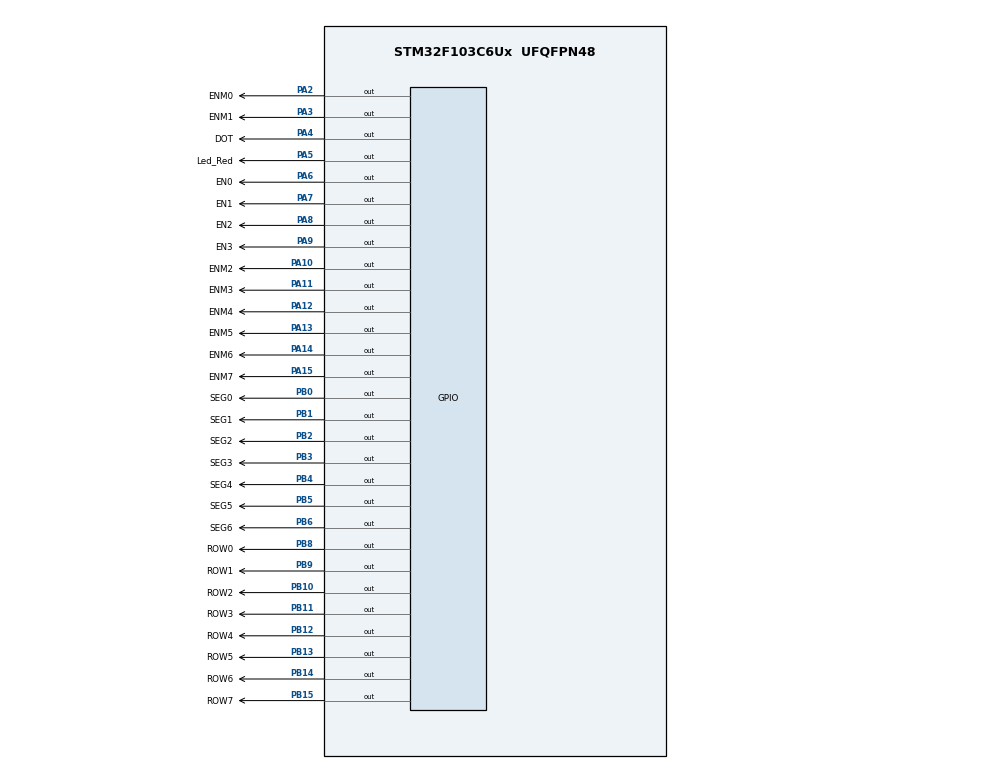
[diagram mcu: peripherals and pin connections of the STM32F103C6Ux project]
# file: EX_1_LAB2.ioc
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Mcu.Family=STM32F1
Mcu.Name=STM32F103C6Ux
Mcu.Package=UFQFPN48
NVIC.PriorityGroup=NVIC_PRIORITYGROUP_4
NVIC.TIM2_IRQn=true\:0\:0\:false\:false\:true\:true\:true
PA10.GPIO_Label=ENM2
PA10.Signal=GPIO_Output
PA11.GPIO_Label=ENM3
PA11.Signal=GPIO_Output
PA12.GPIO_Label=ENM4
PA12.Signal=GPIO_Output
PA13.GPIO_Label=ENM5
PA13.Signal=GPIO_Output
PA14.GPIO_Label=ENM6
PA14.Signal=GPIO_Output
PA15.GPIO_Label=ENM7
PA15.Signal=GPIO_Output
PA2.GPIO_Label=ENM0
PA2.Signal=GPIO_Output
PA3.GPIO_Label=ENM1
PA3.Signal=GPIO_Output
PA4.GPIO_Label=DOT
PA4.Signal=GPIO_Output
PA5.GPIO_Label=Led_Red
PA5.Signal=GPIO_Output
PA6.GPIO_Label=EN0
PA6.Signal=GPIO_Output
PA7.GPIO_Label=EN1
PA7.Signal=GPIO_Output
PA8.GPIO_Label=EN2
PA8.Signal=GPIO_Output
PA9.GPIO_Label=EN3
PA9.Signal=GPIO_Output
PB0.GPIO_Label=SEG0
PB0.Signal=GPIO_Output
PB1.GPIO_Label=SEG1
PB1.Signal=GPIO_Output
PB10.GPIO_Label=ROW2
PB10.Signal=GPIO_Output
PB11.GPIO_Label=ROW3
PB11.Signal=GPIO_Output
PB12.GPIO_Label=ROW4
PB12.Signal=GPIO_Output
PB13.GPIO_Label=ROW5
PB13.Signal=GPIO_Output
PB14.GPIO_Label=ROW6
PB14.Signal=GPIO_Output
PB15.GPIO_Label=ROW7
PB15.Signal=GPIO_Output
PB2.GPIO_Label=SEG2
PB2.Signal=GPIO_Output
PB3.GPIO_Label=SEG3
PB3.Signal=GPIO_Output
PB4.GPIO_Label=SEG4
PB4.Signal=GPIO_Output
PB5.GPIO_Label=SEG5
PB5.Signal=GPIO_Output
PB6.GPIO_Label=SEG6
PB6.Signal=GPIO_Output
PB8.GPIO_Label=ROW0
PB8.Signal=GPIO_Output
PB9.GPIO_Label=ROW1
PB9.Signal=GPIO_Output
ProjectManager.HeapSize=0x200
ProjectManager.StackSize=0x400
ProjectManager.TargetToolchain=STM32CubeIDE
RCC.APB1Freq_Value=8000000
RCC.APB2Freq_Value=8000000
TIM2.Period=9
TIM2.Prescaler=7999
VP_SYS_VS_ND.Mode=No_Debug
VP_TIM2_VS_ClockSourceINT.Mode=Internal
board=custom

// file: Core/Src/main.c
/* USER CODE BEGIN Header */
/**
  ******************************************************************************
  * @file           : main.c
  * @brief          : Main program body
  ******************************************************************************
  * @attention
  *
  * <h2><center>&copy; Copyright (c) 2024 STMicroelectronics.
  * All rights reserved.</center></h2>
  *
  * This software component is licensed by ST under BSD 3-Clause license,
  * the "License"; You may not use this file except in compliance with the
  * License. You may obtain a copy of the License at:
  *                        opensource.org/licenses/BSD-3-Clause
  *
  ******************************************************************************
  */
/* USER CODE END Header */
#include "main.h"

TIM_HandleTypeDef htim2;

void SystemClock_Config(void);
static void MX_GPIO_Init(void);
static void MX_TIM2_Init(void);

/* USER CODE BEGIN 0 */

void display7SEG(int num)
{
	switch(num){
	case 0:
		HAL_GPIO_WritePin(SEG0_GPIO_Port, SEG0_Pin, GPIO_PIN_RESET);
		HAL_GPIO_WritePin(SEG1_GPIO_Port, SEG1_Pin, GPIO_PIN_RESET);
		HAL_GPIO_WritePin(SEG2_GPIO_Port, SEG2_Pin, GPIO_PIN_RESET);
		HAL_GPIO_WritePin(SEG3_GPIO_Port, SEG3_Pin, GPIO_PIN_RESET);
		HAL_GPIO_WritePin(SEG4_GPIO_Port, SEG4_Pin, GPIO_PIN_RESET);
		HAL_GPIO_WritePin(SEG5_GPIO_Port, SEG5_Pin, GPIO_PIN_RESET);
		HAL_GPIO_WritePin(SEG6_GPIO_Port, SEG6_Pin, GPIO_PIN_SET);
		break;
	case 1:

		HAL_GPIO_WritePin(SEG0_GPIO_Port, SEG0_Pin, GPIO_PIN_SET);
		HAL_GPIO_WritePin(SEG1_GPIO_Port, SEG1_Pin, GPIO_PIN_RESET);
		HAL_GPIO_WritePin(SEG2_GPIO_Port, SEG2_Pin, GPIO_PIN_RESET);
		HAL_GPIO_WritePin(SEG3_GPIO_Port, SEG3_Pin, GPIO_PIN_SET);
		HAL_GPIO_WritePin(SEG4_GPIO_Port, SEG4_Pin, GPIO_PIN_SET);
		HAL_GPIO_WritePin(SEG5_GPIO_Port, SEG5_Pin, GPIO_PIN_SET);
		HAL_GPIO_WritePin(SEG6_GPIO_Port, SEG6_Pin, GPIO_PIN_SET);
		break;

	case 2:

		HAL_GPIO_WritePin(SEG0_GPIO_Port, SEG0_Pin, GPIO_PIN_RESET);
		HAL_GPIO_WritePin(SEG1_GPIO_Port, SEG1_Pin, GPIO_PIN_RESET);
		HAL_GPIO_WritePin(SEG2_GPIO_Port, SEG2_Pin, GPIO_PIN_SET);
		HAL_GPIO_WritePin(SEG3_GPIO_Port, SEG3_Pin, GPIO_PIN_RESET);
		HAL_GPIO_WritePin(SEG4_GPIO_Port, SEG4_Pin, GPIO_PIN_RESET);
		HAL_GPIO_WritePin(SEG5_GPIO_Port, SEG5_Pin, GPIO_PIN_SET);
		HAL_GPIO_WritePin(SEG6_GPIO_Port, SEG6_Pin, GPIO_PIN_RESET);
		break;

	case 3:

		HAL_GPIO_WritePin(SEG0_GPIO_Port, SEG0_Pin, GPIO_PIN_RESET);
		HAL_GPIO_WritePin(SEG1_GPIO_Port, SEG1_Pin, GPIO_PIN_RESET);
		HAL_GPIO_WritePin(SEG2_GPIO_Port, SEG2_Pin, GPIO_PIN_RESET);
		HAL_GPIO_WritePin(SEG3_GPIO_Port, SEG3_Pin, GPIO_PIN_RESET);
		HAL_GPIO_WritePin(SEG4_GPIO_Port, SEG4_Pin, GPIO_PIN_SET);
		HAL_GPIO_WritePin(SEG5_GPIO_Port, SEG5_Pin, GPIO_PIN_SET);
		HAL_GPIO_WritePin(SEG6_GPIO_Port, SEG6_Pin, GPIO_PIN_RESET);
		break;

	case 4:

		HAL_GPIO_WritePin(SEG0_GPIO_Port, SEG0_Pin, GPIO_PIN_SET);
		HAL_GPIO_WritePin(SEG1_GPIO_Port, SEG1_Pin, GPIO_PIN_RESET);
		HAL_GPIO_WritePin(SEG2_GPIO_Port, SEG2_Pin, GPIO_PIN_RESET);
		HAL_GPIO_WritePin(SEG3_GPIO_Port, SEG3_Pin, GPIO_PIN_SET);
		HAL_GPIO_WritePin(SEG4_GPIO_Port, SEG4_Pin, GPIO_PIN_SET);
		HAL_GPIO_WritePin(SEG5_GPIO_Port, SEG5_Pin, GPIO_PIN_RESET);
		HAL_GPIO_WritePin(SEG6_GPIO_Port, SEG6_Pin, GPIO_PIN_RESET);
		break;

	case 5:

		HAL_GPIO_WritePin(SEG0_GPIO_Port, SEG0_Pin, GPIO_PIN_RESET);
		HAL_GPIO_WritePin(SEG1_GPIO_Port, SEG1_Pin, GPIO_PIN_SET);
		HAL_GPIO_WritePin(SEG2_GPIO_Port, SEG2_Pin, GPIO_PIN_RESET);
		HAL_GPIO_WritePin(SEG3_GPIO_Port, SEG3_Pin, GPIO_PIN_RESET);
		HAL_GPIO_WritePin(SEG4_GPIO_Port, SEG4_Pin, GPIO_PIN_SET);
		HAL_GPIO_WritePin(SEG5_GPIO_Port, SEG5_Pin, GPIO_PIN_RESET);
		HAL_GPIO_WritePin(SEG6_GPIO_Port, SEG6_Pin, GPIO_PIN_RESET);
		break;

	case 6:

		HAL_GPIO_WritePin(SEG0_GPIO_Port, SEG0_Pin, GPIO_PIN_RESET);
		HAL_GPIO_WritePin(SEG1_GPIO_Port, SEG1_Pin, GPIO_PIN_SET);
		HAL_GPIO_WritePin(SEG2_GPIO_Port, SEG2_Pin, GPIO_PIN_RESET);
		HAL_GPIO_WritePin(SEG3_GPIO_Port, SEG3_Pin, GPIO_PIN_RESET);
		HAL_GPIO_WritePin(SEG4_GPIO_Port, SEG4_Pin, GPIO_PIN_RESET);
		HAL_GPIO_WritePin(SEG5_GPIO_Port, SEG5_Pin, GPIO_PIN_RESET);
		HAL_GPIO_WritePin(SEG6_GPIO_Port, SEG6_Pin, GPIO_PIN_RESET);
		break;

	case 7:

		HAL_GPIO_WritePin(SEG0_GPIO_Port, SEG0_Pin, GPIO_PIN_RESET);
		HAL_GPIO_WritePin(SEG1_GPIO_Port, SEG1_Pin, GPIO_PIN_RESET);
		HAL_GPIO_WritePin(SEG2_GPIO_Port, SEG2_Pin, GPIO_PIN_RESET);
		HAL_GPIO_WritePin(SEG3_GPIO_Port, SEG3_Pin, GPIO_PIN_SET);
		HAL_GPIO_WritePin(SEG4_GPIO_Port, SEG4_Pin, GPIO_PIN_SET);
		HAL_GPIO_WritePin(SEG5_GPIO_Port, SEG5_Pin, GPIO_PIN_SET);
		HAL_GPIO_WritePin(SEG6_GPIO_Port, SEG6_Pin, GPIO_PIN_SET);
		break;

	case 8:

		HAL_GPIO_WritePin(SEG0_GPIO_Port, SEG0_Pin, GPIO_PIN_RESET);
		HAL_GPIO_WritePin(SEG1_GPIO_Port, SEG1_Pin, GPIO_PIN_RESET);
		HAL_GPIO_WritePin(SEG2_GPIO_Port, SEG2_Pin, GPIO_PIN_RESET);
		HAL_GPIO_WritePin(SEG3_GPIO_Port, SEG3_Pin, GPIO_PIN_RESET);
		HAL_GPIO_WritePin(SEG4_GPIO_Port, SEG4_Pin, GPIO_PIN_RESET);
		HAL_GPIO_WritePin(SEG5_GPIO_Port, SEG5_Pin, GPIO_PIN_RESET);
		HAL_GPIO_WritePin(SEG6_GPIO_Port, SEG6_Pin, GPIO_PIN_RESET);
		break;

	case 9:

		HAL_GPIO_WritePin(SEG0_GPIO_Port, SEG0_Pin, GPIO_PIN_RESET);
		HAL_GPIO_WritePin(SEG1_GPIO_Port, SEG1_Pin, GPIO_PIN_RESET);
		HAL_GPIO_WritePin(SEG2_GPIO_Port, SEG2_Pin, GPIO_PIN_RESET);
		HAL_GPIO_WritePin(SEG3_GPIO_Port, SEG3_Pin, GPIO_PIN_RESET);
		HAL_GPIO_WritePin(SEG4_GPIO_Port, SEG4_Pin, GPIO_PIN_SET);
		HAL_GPIO_WritePin(SEG5_GPIO_Port, SEG5_Pin, GPIO_PIN_RESET);
		HAL_GPIO_WritePin(SEG6_GPIO_Port, SEG6_Pin, GPIO_PIN_RESET);
		break;

	}
}
const int MAX_LED = 4;
int index_led = 0;
int led_buffer[4] = {0, 0, 0, 0}; // Thay đổi giá trị để thử nghiệm
int hour = 15;
int minute = 8;
int second = 50;
int index_led_matrix = 0;
const int MAX_LED_MATRIX = 8;
//uint8_t matrix_buffer [8] = {0x18,0x24,0x42,0x42,0x7e,0x42,0x42,0x42};
uint8_t matrix_buffer [8] = {0x20,0x10,0x08,0x18,0x24,0x7e,0x42,0x42};

GPIO_TypeDef* ENM_GPIO_Port[8] = {
    ENM0_GPIO_Port, ENM1_GPIO_Port, ENM2_GPIO_Port,
    ENM3_GPIO_Port, ENM4_GPIO_Port, ENM5_GPIO_Port,
    ENM6_GPIO_Port, ENM7_GPIO_Port
};

uint16_t ENM_Pin[8] = {
    ENM0_Pin, ENM1_Pin, ENM2_Pin,
    ENM3_Pin, ENM4_Pin, ENM5_Pin,
    ENM6_Pin, ENM7_Pin
};
int shift = 1;// mask used to get bit by bit of buffer
void display_ledmatix(int row,int col)
{

		if(row == 0){// enable row 0
			HAL_GPIO_WritePin(ROW0_GPIO_Port, ROW0_Pin, RESET);
			HAL_GPIO_WritePin(ROW1_GPIO_Port, ROW1_Pin, SET);
			HAL_GPIO_WritePin(ROW2_GPIO_Port, ROW2_Pin, SET);
			HAL_GPIO_WritePin(ROW3_GPIO_Port, ROW3_Pin, SET);
			HAL_GPIO_WritePin(ROW4_GPIO_Port, ROW4_Pin, SET);
			HAL_GPIO_WritePin(ROW5_GPIO_Port, ROW5_Pin, SET);
			HAL_GPIO_WritePin(ROW6_GPIO_Port, ROW6_Pin, SET);
			HAL_GPIO_WritePin(ROW7_GPIO_Port, ROW7_Pin, SET);

			// get bit by bit of buffer, then assign to ENM-PIN to control COL-PIN
			  for (int i = 0; i < 8; i++) {
			        HAL_GPIO_WritePin(ENM_GPIO_Port[i], ENM_Pin[i], 1 - (col & 1));
			        col = col >> 1; // Dịch trái sau khi ghi giá trị
			    }
		}

		if(row == 1){// enable row 1
			HAL_GPIO_WritePin(ROW0_GPIO_Port, ROW0_Pin, SET);
			HAL_GPIO_WritePin(ROW1_GPIO_Port, ROW1_Pin, RESET);
			HAL_GPIO_WritePin(ROW2_GPIO_Port, ROW2_Pin, SET);
			HAL_GPIO_WritePin(ROW3_GPIO_Port, ROW3_Pin, SET);
			HAL_GPIO_WritePin(ROW4_GPIO_Port, ROW4_Pin, SET);
			HAL_GPIO_WritePin(ROW5_GPIO_Port, ROW5_Pin, SET);
			HAL_GPIO_WritePin(ROW6_GPIO_Port, ROW6_Pin, SET);
			HAL_GPIO_WritePin(ROW7_GPIO_Port, ROW7_Pin, SET);

			  for (int i = 0; i < 8; i++) {
					        HAL_GPIO_WritePin(ENM_GPIO_Port[i], ENM_Pin[i], 1 - (col & 1));
					        col = col >> 1; // Dịch trái sau khi ghi giá trị
					    }
		}

		if(row == 2){// enable row 2
			HAL_GPIO_WritePin(ROW0_GPIO_Port, ROW0_Pin, SET);
			HAL_GPIO_WritePin(ROW1_GPIO_Port, ROW1_Pin, SET);
			HAL_GPIO_WritePin(ROW2_GPIO_Port, ROW2_Pin, RESET);
			HAL_GPIO_WritePin(ROW3_GPIO_Port, ROW3_Pin, SET);
			HAL_GPIO_WritePin(ROW4_GPIO_Port, ROW4_Pin, SET);
			HAL_GPIO_WritePin(ROW5_GPIO_Port, ROW5_Pin, SET);
			HAL_GPIO_WritePin(ROW6_GPIO_Port, ROW6_Pin, SET);
			HAL_GPIO_WritePin(ROW7_GPIO_Port, ROW7_Pin, SET);

			  for (int i = 0; i < 8; i++) {
					        HAL_GPIO_WritePin(ENM_GPIO_Port[i], ENM_Pin[i], 1 - (col & 1));
					        col = col >> 1; // Dịch trái sau khi ghi giá trị
					    }
		}

		if(row == 3){// enable row 3
			HAL_GPIO_WritePin(ROW0_GPIO_Port, ROW0_Pin, SET);
			HAL_GPIO_WritePin(ROW1_GPIO_Port, ROW1_Pin, SET);
			HAL_GPIO_WritePin(ROW2_GPIO_Port, ROW2_Pin, SET);
			HAL_GPIO_WritePin(ROW3_GPIO_Port, ROW3_Pin, RESET);
			HAL_GPIO_WritePin(ROW4_GPIO_Port, ROW4_Pin, SET);
			HAL_GPIO_WritePin(ROW5_GPIO_Port, ROW5_Pin, SET);
			HAL_GPIO_WritePin(ROW6_GPIO_Port, ROW6_Pin, SET);
			HAL_GPIO_WritePin(ROW7_GPIO_Port, ROW7_Pin, SET);

			  for (int i = 0; i < 8; i++) {
					        HAL_GPIO_WritePin(ENM_GPIO_Port[i], ENM_Pin[i], 1 - (col & 1));
					        col = col >> 1; // Dịch trái sau khi ghi giá trị
					    }
		}

		if(row == 4){// enable row 4
			HAL_GPIO_WritePin(ROW0_GPIO_Port, ROW0_Pin, SET);
			HAL_GPIO_WritePin(ROW1_GPIO_Port, ROW1_Pin, SET);
			HAL_GPIO_WritePin(ROW2_GPIO_Port, ROW2_Pin, SET);
			HAL_GPIO_WritePin(ROW3_GPIO_Port, ROW3_Pin, SET);
			HAL_GPIO_WritePin(ROW4_GPIO_Port, ROW4_Pin, RESET);
			HAL_GPIO_WritePin(ROW5_GPIO_Port, ROW5_Pin, SET);
			HAL_GPIO_WritePin(ROW6_GPIO_Port, ROW6_Pin, SET);
			HAL_GPIO_WritePin(ROW7_GPIO_Port, ROW7_Pin, SET);

			  for (int i = 0; i < 8; i++) {
					        HAL_GPIO_WritePin(ENM_GPIO_Port[i], ENM_Pin[i], 1 - (col & 1));
					        col = col >> 1; // Dịch trái sau khi ghi giá trị
					    }
		}

		if(row == 5){// enable row 5
			HAL_GPIO_WritePin(ROW0_GPIO_Port, ROW0_Pin, SET);
			HAL_GPIO_WritePin(ROW1_GPIO_Port, ROW1_Pin, SET);
			HAL_GPIO_WritePin(ROW2_GPIO_Port, ROW2_Pin, SET);
			HAL_GPIO_WritePin(ROW3_GPIO_Port, ROW3_Pin, SET);
			HAL_GPIO_WritePin(ROW4_GPIO_Port, ROW4_Pin, SET);
			HAL_GPIO_WritePin(ROW5_GPIO_Port, ROW5_Pin, RESET);
			HAL_GPIO_WritePin(ROW6_GPIO_Port, ROW6_Pin, SET);
			HAL_GPIO_WritePin(ROW7_GPIO_Port, ROW7_Pin, SET);

			  for (int i = 0; i < 8; i++) {
					        HAL_GPIO_WritePin(ENM_GPIO_Port[i], ENM_Pin[i], 1 - (col & 1));
					        col = col >> 1; // Dịch trái sau khi ghi giá trị
					    }
		}

		if(row == 6){// enable row 6
			HAL_GPIO_WritePin(ROW0_GPIO_Port, ROW0_Pin, SET);
			HAL_GPIO_WritePin(ROW1_GPIO_Port, ROW1_Pin, SET);
			HAL_GPIO_WritePin(ROW2_GPIO_Port, ROW2_Pin, SET);
			HAL_GPIO_WritePin(ROW3_GPIO_Port, ROW3_Pin, SET);
			HAL_GPIO_WritePin(ROW4_GPIO_Port, ROW4_Pin, SET);
			HAL_GPIO_WritePin(ROW5_GPIO_Port, ROW5_Pin, SET);
			HAL_GPIO_WritePin(ROW6_GPIO_Port, ROW6_Pin, RESET);
			HAL_GPIO_WritePin(ROW7_GPIO_Port, ROW7_Pin, SET);

			  for (int i = 0; i < 8; i++) {
					        HAL_GPIO_WritePin(ENM_GPIO_Port[i], ENM_Pin[i], 1 - (col & 1));
					        col = col >> 1; // Dịch trái sau khi ghi giá trị
					    }
		}

		if(row == 7){// enable row 7
			HAL_GPIO_WritePin(ROW0_GPIO_Port, ROW0_Pin, SET);
			HAL_GPIO_WritePin(ROW1_GPIO_Port, ROW1_Pin, SET);
			HAL_GPIO_WritePin(ROW2_GPIO_Port, ROW2_Pin, SET);
			HAL_GPIO_WritePin(ROW3_GPIO_Port, ROW3_Pin, SET);
			HAL_GPIO_WritePin(ROW4_GPIO_Port, ROW4_Pin, SET);
			HAL_GPIO_WritePin(ROW5_GPIO_Port, ROW5_Pin, SET);
			HAL_GPIO_WritePin(ROW6_GPIO_Port, ROW6_Pin, SET);
			HAL_GPIO_WritePin(ROW7_GPIO_Port, ROW7_Pin, RESET);

			  for (int i = 0; i < 8; i++) {
					        HAL_GPIO_WritePin(ENM_GPIO_Port[i], ENM_Pin[i], 1 - (col & 1));
					        col = col >> 1; // Dịch trái sau khi ghi giá trị
					    }
		}
}
void updateLedMatrix(int index){
	switch(index){
	case 0:// display row 0 of led matrix
		display_ledmatix(0, matrix_buffer[0]);
		break;
	case 1:// display row 1 of led matrix
		display_ledmatix(1, matrix_buffer[1]);
		break;
	case 2:// display row 2 of led matrix
		display_ledmatix(2, matrix_buffer[2]);
		break;
	case 3:// display row 3 of led matrix
		display_ledmatix(3, matrix_buffer[3]);
		break;
	case 4:// display row 4 of led matrix
		display_ledmatix(4, matrix_buffer[4]);
		break;
	case 5:// display row 5 of led matrix
		display_ledmatix(5, matrix_buffer[5]);
		break;
	case 6:// display row 6 of led matrix
		display_ledmatix(6, matrix_buffer[6]);
		break;
	case 7:// display row 7 of led matrix
		display_ledmatix(7, matrix_buffer[7]);
		break;
	default:
		break;
	}
}

void update7SEG(int index)
{
    switch (index)
    {
        case 0:
            display7SEG(led_buffer[0]);
            break;
        case 1:
            display7SEG(led_buffer[1]);
            break;
        case 2:
            display7SEG(led_buffer[2]);
            break;
        case 3:
            display7SEG(led_buffer[3]);
            break;
        default:
            break;
    }
}
void updateClockBuffer()
{
	if(hour<10)
	{
		led_buffer[0]=0;
		led_buffer[1]=hour;

	}
	if(hour>=10)
	{
		led_buffer[0]=hour/10;
		led_buffer[1]=hour%10;
	}
	if(minute<10)
	{
		led_buffer[2]=0;
		led_buffer[3]=minute;
	}
	if(minute>=10)
	{
		led_buffer[2]=minute/10;
		led_buffer[3]=minute%10;
	}

}
int timer_counter=0;
int timer_flag=0;
int timer_cycle=10;
int timer_counter1=0;
int timer_flag1=0;
int timer_cycle1=10;
int timer_counter2=0;
int timer_flag2=0;
int timer_cycle2=10;
int timer_counter_matrix=0;
int timer_flag_matrix=0;
void setTimer_maxtrix(int duration)
{
	timer_counter_matrix=duration/timer_cycle;
	timer_flag_matrix=0;
}
void timerRun_maxtrix()
{
	if(timer_counter_matrix>0)
	{
		timer_counter_matrix--;
		if(timer_counter_matrix==0)
			timer_flag_matrix=1;
	}}
void setTimer(int duration)
{
	timer_counter=duration/timer_cycle;
	timer_flag=0;
}
void timerRun()
{
	if(timer_counter>0)
	{
		timer_counter--;
		if(timer_counter==0)
			timer_flag=1;
	}
}
void setTimer1(int duration1)
{
	timer_counter1=duration1/timer_cycle1;
	timer_flag1=0;
}
void timerRun1()
{
	if(timer_counter1>0)
	{
		timer_counter1--;
		if(timer_counter1==0)
			timer_flag1=1;
	}
}
void setTimer2(int duration1)
{
	timer_counter2=duration1/timer_cycle2;
	timer_flag2=0;
}
void timerRun2()
{
	if(timer_counter2>0)
	{
		timer_counter2--;
		if(timer_counter2==0)
			timer_flag2=1;
	}
}
/* USER CODE END 0 */

int main(void)
{

  /* MCU Configuration--------------------------------------------------------*/

  /* Reset of all peripherals, Initializes the Flash interface and the Systick. */
  HAL_Init();

  /* Configure the system clock */
  SystemClock_Config();

  /* Initialize all configured peripherals */
  MX_GPIO_Init();
  MX_TIM2_Init();
  /* USER CODE BEGIN 2 */
  HAL_TIM_Base_Start_IT(&htim2);
  /* USER CODE END 2 */

  /* Infinite loop */
  /* USER CODE BEGIN WHILE */
  setTimer(1000);
  setTimer1(250);
  setTimer2(1000);
  setTimer_maxtrix(200);
  int state=0;
  while (1)
  {
    /* USER CODE END WHILE */
    if(timer_flag==1)
    {
    	  second ++;
    	  	  if (second >= 60)
    	  	  {
    	  		  second = 0;
    	  	  	  minute++;
    	  	  }
    	  	  if(minute >= 60)
    	  	  {
    	  		  minute = 0;
    	  	  	  hour++;
    	  	  }
    	  	  if(hour >= 24)
    	  	  {
    	  		  hour = 0;
    	  	  }
    	  	  updateClockBuffer();
	            setTimer(1000);
    }
    if(timer_flag_matrix==1)
    {
    	updateLedMatrix(index_led_matrix++);
        if(index_led_matrix>=MAX_LED_MATRIX)
        	index_led_matrix=0;
        setTimer_maxtrix(10);
    }
    if(timer_flag2==1)
    {
        HAL_GPIO_TogglePin(Led_Red_GPIO_Port, Led_Red_Pin);
        HAL_GPIO_TogglePin(DOT_GPIO_Port, DOT_Pin);
        setTimer2(1000);

    }
    if(timer_flag1==1)
    {
        if(index_led>= MAX_LED)
        {
        	index_led=0;
        }
        // Chuyển đổi trạng thái hiển thị LED 7 đoạn
        if (state == 0)
        {
            HAL_GPIO_WritePin(EN0_GPIO_Port, EN0_Pin, RESET); // Bật LED 1
            HAL_GPIO_WritePin(EN1_GPIO_Port, EN1_Pin, SET);   // Tắt LED 2
            HAL_GPIO_WritePin(EN2_GPIO_Port, EN2_Pin, SET);   // Tắt LED 3
            HAL_GPIO_WritePin(EN3_GPIO_Port, EN3_Pin, SET);   // Tắt LED 4
            update7SEG(index_led++); // Hiển thị số 1
            state = 1; // Cập nhật trạng thái
        }
        else if (state == 1)
        {
            HAL_GPIO_WritePin(EN0_GPIO_Port, EN0_Pin, SET);   // Tắt LED 1
            HAL_GPIO_WritePin(EN1_GPIO_Port, EN1_Pin, RESET); // Bật LED 2
            HAL_GPIO_WritePin(EN2_GPIO_Port, EN2_Pin, SET);   // Tắt LED 3
            HAL_GPIO_WritePin(EN3_GPIO_Port, EN3_Pin, SET);   // Tắt LED 4
            update7SEG(index_led++); // Hiển thị số 1
            state = 2; // Cập nhật trạng thái
        }
        else if (state == 2)
            {
                HAL_GPIO_WritePin(EN0_GPIO_Port, EN0_Pin, SET);   // Tắt LED 1
                HAL_GPIO_WritePin(EN1_GPIO_Port, EN1_Pin, SET); // Bật LED 2
                HAL_GPIO_WritePin(EN2_GPIO_Port, EN2_Pin, RESET);   // Tắt LED 3
                HAL_GPIO_WritePin(EN3_GPIO_Port, EN3_Pin, SET);   // Tắt LED 4
                update7SEG(index_led++); // Hiển thị số 1
                state = 3; // Cập nhật trạng thái
            }
        else if (state == 3)
            {
                HAL_GPIO_WritePin(EN0_GPIO_Port, EN0_Pin, SET);   // Tắt LED 1
                HAL_GPIO_WritePin(EN1_GPIO_Port, EN1_Pin, SET); // Bật LED 2
                HAL_GPIO_WritePin(EN2_GPIO_Port, EN2_Pin, SET);   // Tắt LED 3
                HAL_GPIO_WritePin(EN3_GPIO_Port, EN3_Pin, RESET);   // Tắt LED 4
                update7SEG(index_led++); // Hiển thị số 1
                state = 0; // Cập nhật trạng thái
            }
        setTimer1(250);
    }

    /* USER CODE BEGIN 3 */
  }
}

void SystemClock_Config(void)
{
  RCC_OscInitTypeDef RCC_OscInitStruct = {0};
  RCC_ClkInitTypeDef RCC_ClkInitStruct = {0};

  /** Initializes the RCC Oscillators according to the specified parameters
  * in the RCC_OscInitTypeDef structure.
  */
  RCC_OscInitStruct.OscillatorType = RCC_OSCILLATORTYPE_HSI;
  RCC_OscInitStruct.HSIState = RCC_HSI_ON;
  RCC_OscInitStruct.HSICalibrationValue = RCC_HSICALIBRATION_DEFAULT;
  RCC_OscInitStruct.PLL.PLLState = RCC_PLL_NONE;
  if (HAL_RCC_OscConfig(&RCC_OscInitStruct) != HAL_OK)
  {
    Error_Handler();
  }
  /** Initializes the CPU, AHB and APB buses clocks
  */
  RCC_ClkInitStruct.ClockType = RCC_CLOCKTYPE_HCLK|RCC_CLOCKTYPE_SYSCLK
                              |RCC_CLOCKTYPE_PCLK1|RCC_CLOCKTYPE_PCLK2;
  RCC_ClkInitStruct.SYSCLKSource = RCC_SYSCLKSOURCE_HSI;
  RCC_ClkInitStruct.AHBCLKDivider = RCC_SYSCLK_DIV1;
  RCC_ClkInitStruct.APB1CLKDivider = RCC_HCLK_DIV1;
  RCC_ClkInitStruct.APB2CLKDivider = RCC_HCLK_DIV1;

  if (HAL_RCC_ClockConfig(&RCC_ClkInitStruct, FLASH_LATENCY_0) != HAL_OK)
  {
    Error_Handler();
  }
}

static void MX_TIM2_Init(void)
{

  TIM_ClockConfigTypeDef sClockSourceConfig = {0};
  TIM_MasterConfigTypeDef sMasterConfig = {0};

  htim2.Instance = TIM2;
  htim2.Init.Prescaler = 7999;
  htim2.Init.CounterMode = TIM_COUNTERMODE_UP;
  htim2.Init.Period = 9;
  htim2.Init.ClockDivision = TIM_CLOCKDIVISION_DIV1;
  htim2.Init.AutoReloadPreload = TIM_AUTORELOAD_PRELOAD_DISABLE;
  if (HAL_TIM_Base_Init(&htim2) != HAL_OK)
  {
    Error_Handler();
  }
  sClockSourceConfig.ClockSource = TIM_CLOCKSOURCE_INTERNAL;
  if (HAL_TIM_ConfigClockSource(&htim2, &sClockSourceConfig) != HAL_OK)
  {
    Error_Handler();
  }
  sMasterConfig.MasterOutputTrigger = TIM_TRGO_RESET;
  sMasterConfig.MasterSlaveMode = TIM_MASTERSLAVEMODE_DISABLE;
  if (HAL_TIMEx_MasterConfigSynchronization(&htim2, &sMasterConfig) != HAL_OK)
  {
    Error_Handler();
  }

}

static void MX_GPIO_Init(void)
{
  GPIO_InitTypeDef GPIO_InitStruct = {0};

  /* GPIO Ports Clock Enable */
  __HAL_RCC_GPIOA_CLK_ENABLE();
  __HAL_RCC_GPIOB_CLK_ENABLE();

  /*Configure GPIO pin Output Level */
  HAL_GPIO_WritePin(GPIOA, ENM0_Pin|ENM1_Pin|DOT_Pin|Led_Red_Pin
                          |EN0_Pin|EN1_Pin|EN2_Pin|EN3_Pin
                          |ENM2_Pin|ENM3_Pin|ENM4_Pin|ENM5_Pin
                          |ENM6_Pin|ENM7_Pin, GPIO_PIN_RESET);

  /*Configure GPIO pin Output Level */
  HAL_GPIO_WritePin(GPIOB, SEG0_Pin|SEG1_Pin|SEG2_Pin|ROW2_Pin
                          |ROW3_Pin|ROW4_Pin|ROW5_Pin|ROW6_Pin
                          |ROW7_Pin|SEG3_Pin|SEG4_Pin|SEG5_Pin
                          |SEG6_Pin|ROW0_Pin|ROW1_Pin, GPIO_PIN_RESET);

  /*Configure GPIO pins : ENM0_Pin ENM1_Pin DOT_Pin Led_Red_Pin
                           EN0_Pin EN1_Pin EN2_Pin EN3_Pin
                           ENM2_Pin ENM3_Pin ENM4_Pin ENM5_Pin
                           ENM6_Pin ENM7_Pin */
  GPIO_InitStruct.Pin = ENM0_Pin|ENM1_Pin|DOT_Pin|Led_Red_Pin
                          |EN0_Pin|EN1_Pin|EN2_Pin|EN3_Pin
                          |ENM2_Pin|ENM3_Pin|ENM4_Pin|ENM5_Pin
                          |ENM6_Pin|ENM7_Pin;
  GPIO_InitStruct.Mode = GPIO_MODE_OUTPUT_PP;
  GPIO_InitStruct.Pull = GPIO_NOPULL;
  GPIO_InitStruct.Speed = GPIO_SPEED_FREQ_LOW;
  HAL_GPIO_Init(GPIOA, &GPIO_InitStruct);

  /*Configure GPIO pins : SEG0_Pin SEG1_Pin SEG2_Pin ROW2_Pin
                           ROW3_Pin ROW4_Pin ROW5_Pin ROW6_Pin
                           ROW7_Pin SEG3_Pin SEG4_Pin SEG5_Pin
                           SEG6_Pin ROW0_Pin ROW1_Pin */
  GPIO_InitStruct.Pin = SEG0_Pin|SEG1_Pin|SEG2_Pin|ROW2_Pin
                          |ROW3_Pin|ROW4_Pin|ROW5_Pin|ROW6_Pin
                          |ROW7_Pin|SEG3_Pin|SEG4_Pin|SEG5_Pin
                          |SEG6_Pin|ROW0_Pin|ROW1_Pin;
  GPIO_InitStruct.Mode = GPIO_MODE_OUTPUT_PP;
  GPIO_InitStruct.Pull = GPIO_NOPULL;
  GPIO_InitStruct.Speed = GPIO_SPEED_FREQ_LOW;
  HAL_GPIO_Init(GPIOB, &GPIO_InitStruct);

}

/* USER CODE BEGIN 4 */
void HAL_TIM_PeriodElapsedCallback(TIM_HandleTypeDef* htim)
{
 timerRun();
 timerRun1();
 timerRun2();
 timerRun_maxtrix();
}
/* USER CODE END 4 */

void Error_Handler(void)
{
  __disable_irq();
  while (1)
  {
  }
}

/************************ (C) COPYRIGHT STMicroelectronics *****END OF FILE****/
